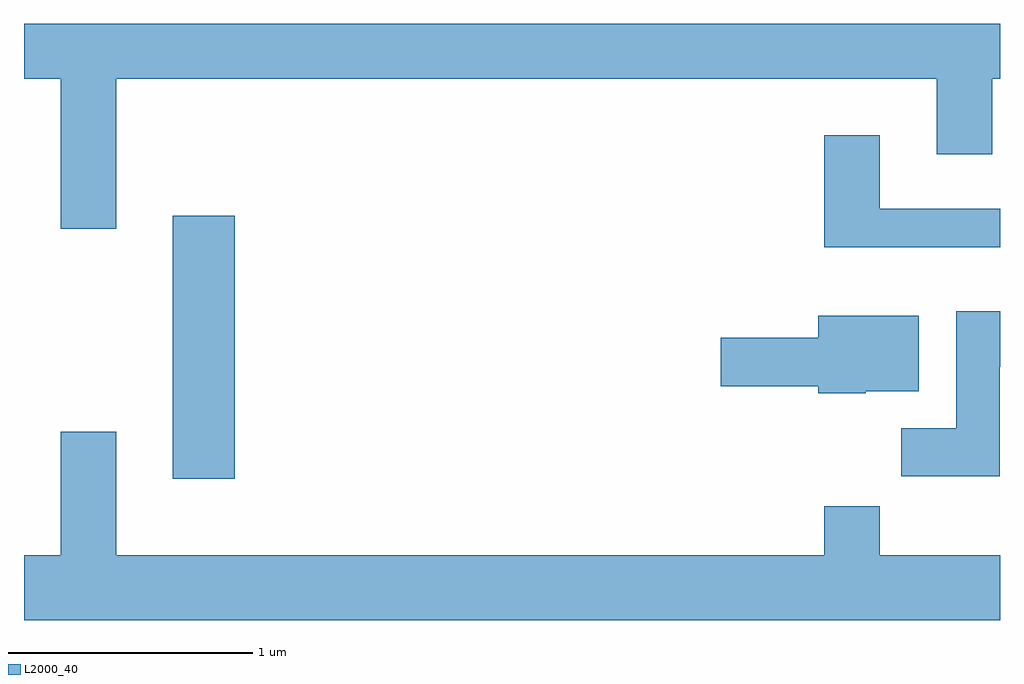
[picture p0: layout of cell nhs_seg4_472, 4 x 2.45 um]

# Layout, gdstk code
import gdstk
lib = gdstk.Library(unit=1e-6, precision=1e-09)
def R(c, l, rs):  # rectangles x0, y0, x1, y1
    for r in rs: c.add(gdstk.rectangle(r[:2], r[2:], *l))
def P(c, l, *ps):  # polygons
    for p in ps: c.add(gdstk.Polygon(p, *l))
L2000_40 = (2000, 40)

nhs_seg4_472 = lib.new_cell('nhs_seg4_472')
R(nhs_seg4_472, L2000_40, [(198.221,1384.116,198.474,1385.194)])
P(nhs_seg4_472, L2000_40, [(197.989,1385.756),(201.351,1385.756),(201.351,1385.446),(201.579,1385.446),(201.579,1385.756),(201.611,1385.756),(201.611,1385.982),(197.611,1385.982),(197.611,1385.756),(197.761,1385.756),(197.761,1385.141),(197.989,1385.141)],
  [(201.611,1385.224),(201.119,1385.224),(201.119,1385.524),(200.891,1385.524),(200.891,1385.066),(201.611,1385.066)],
  [(201.609,1384.576),(201.611,1384.576),(201.611,1384.804),(201.431,1384.804),(201.431,1384.324),(201.206,1384.324),(201.206,1384.126),(201.609,1384.126)],
  [(201.06,1384.476),(201.279,1384.476),(201.279,1384.784),(200.866,1384.784),(200.866,1384.694),(200.466,1384.694),(200.466,1384.496),(200.866,1384.496),(200.866,1384.466),(201.06,1384.466)],
  [(201.611,1383.804),(201.119,1383.804),(201.119,1384.004),(200.891,1384.004),(200.891,1383.804),(197.989,1383.804),(197.989,1384.309),(197.761,1384.309),(197.761,1383.804),(197.611,1383.804),(197.611,1383.536),(201.611,1383.536)])

lib.write_gds('nhs_seg4_472.gds')
